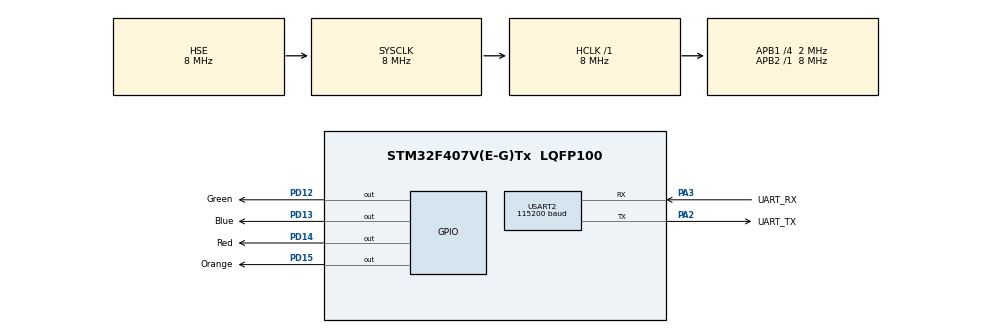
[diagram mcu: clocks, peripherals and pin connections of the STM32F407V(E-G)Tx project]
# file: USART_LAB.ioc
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Dma.Request0=USART2_RX
Dma.Request1=USART2_TX
Dma.USART2_RX.0.Direction=DMA_PERIPH_TO_MEMORY
Dma.USART2_RX.0.FIFOMode=DMA_FIFOMODE_DISABLE
Dma.USART2_RX.0.Instance=DMA1_Stream5
Dma.USART2_RX.0.MemDataAlignment=DMA_MDATAALIGN_BYTE
Dma.USART2_RX.0.MemInc=DMA_MINC_ENABLE
Dma.USART2_RX.0.Mode=DMA_NORMAL
Dma.USART2_RX.0.PeriphDataAlignment=DMA_PDATAALIGN_BYTE
Dma.USART2_RX.0.PeriphInc=DMA_PINC_DISABLE
Dma.USART2_RX.0.Priority=DMA_PRIORITY_LOW
Dma.USART2_TX.1.Direction=DMA_MEMORY_TO_PERIPH
Dma.USART2_TX.1.FIFOMode=DMA_FIFOMODE_DISABLE
Dma.USART2_TX.1.Instance=DMA1_Stream6
Dma.USART2_TX.1.MemDataAlignment=DMA_MDATAALIGN_BYTE
Dma.USART2_TX.1.MemInc=DMA_MINC_ENABLE
Dma.USART2_TX.1.Mode=DMA_NORMAL
Dma.USART2_TX.1.PeriphDataAlignment=DMA_PDATAALIGN_BYTE
Dma.USART2_TX.1.PeriphInc=DMA_PINC_DISABLE
Dma.USART2_TX.1.Priority=DMA_PRIORITY_LOW
Mcu.Family=STM32F4
Mcu.Name=STM32F407V(E-G)Tx
Mcu.Package=LQFP100
NVIC.DMA1_Stream5_IRQn=true\:0\:0\:false\:false\:true\:false\:true\:true
NVIC.DMA1_Stream6_IRQn=true\:0\:0\:false\:false\:true\:false\:true\:true
NVIC.PriorityGroup=NVIC_PRIORITYGROUP_4
NVIC.USART2_IRQn=true\:0\:0\:true\:false\:true\:true\:true\:true
PA2.GPIO_Label=UART_TX
PA2.GPIO_PuPd=GPIO_PULLUP
PA2.Mode=Asynchronous
PA2.Signal=USART2_TX
PA3.GPIO_Label=UART_RX
PA3.GPIO_PuPd=GPIO_NOPULL
PA3.Mode=Asynchronous
PA3.Signal=USART2_RX
PD12.GPIO_Label=Green
PD12.GPIO_PuPd=GPIO_PULLUP
PD12.Signal=GPIO_Output
PD13.GPIO_Label=Blue
PD13.PinState=GPIO_PIN_SET
PD13.Signal=GPIO_Output
PD14.GPIO_Label=Red
PD14.Signal=GPIO_Output
PD15.GPIO_Label=Orange
PD15.PinState=GPIO_PIN_SET
PD15.Signal=GPIO_Output
PH0-OSC_IN.Mode=HSE-External-Oscillator
PH0-OSC_IN.Signal=RCC_OSC_IN
PH1-OSC_OUT.Mode=HSE-External-Oscillator
PH1-OSC_OUT.Signal=RCC_OSC_OUT
ProjectManager.HeapSize=0x200
ProjectManager.StackSize=0x400
ProjectManager.TargetToolchain=STM32CubeIDE
RCC.48MHZClocksFreq_Value=24000000
RCC.AHBFreq_Value=8000000
RCC.APB1CLKDivider=RCC_HCLK_DIV4
RCC.APB1Freq_Value=2000000
RCC.APB1TimFreq_Value=4000000
RCC.APB2Freq_Value=8000000
RCC.APB2TimFreq_Value=8000000
RCC.CortexFreq_Value=8000000
RCC.HCLKFreq_Value=8000000
RCC.HSE_VALUE=8000000
RCC.HSI_VALUE=16000000
RCC.LSE_VALUE=32768
RCC.PLLSourceVirtual=RCC_PLLSOURCE_HSE
RCC.SYSCLKFreq_VALUE=8000000
RCC.SYSCLKSource=RCC_SYSCLKSOURCE_HSE
RCC.VCOOutputFreq_Value=96000000
USART2.BaudRate=115200
USART2.VirtualMode=VM_ASYNC
board=custom

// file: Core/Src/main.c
/* USER CODE BEGIN Header */
/**
  ******************************************************************************
  * @file           : main.c
  * @brief          : Main program body
  ******************************************************************************
  * @attention
  *
  * Copyright (c) 2024 STMicroelectronics.
  * All rights reserved.
  *
  * This software is licensed under terms that can be found in the LICENSE file
  * in the root directory of this software component.
  * If no LICENSE file comes with this software, it is provided AS-IS.
  *
  ******************************************************************************
  */
/* USER CODE END Header */
#include "main.h"
#include "dma.h"
#include "usart.h"
#include "gpio.h"

/* USER CODE BEGIN PD */
//#define TX
#define RX
/* USER CODE END PD */

void SystemClock_Config(void);

/* USER CODE BEGIN 0 */
#ifdef TX
void HAL_UART_TxCpltCallback(UART_HandleTypeDef *huart)
{
	HAL_GPIO_WritePin(GPIOD,GPIO_PIN_12,GPIO_PIN_SET) ;
}
#endif
#ifdef RX
void HAL_UART_RxCpltCallback(UART_HandleTypeDef *huart)
{
	HAL_GPIO_WritePin(GPIOD,GPIO_PIN_12,GPIO_PIN_SET) ;
}
#endif
/* USER CODE END 0 */

int main(void)
{

  /* USER CODE BEGIN 1 */
	uint8_t tx_data[]={'c','s','f','l','a','b'};
	uint8_t rx_data[6];

  /* USER CODE END 1 */

  /* MCU Configuration--------------------------------------------------------*/

  /* Reset of all peripherals, Initializes the Flash interface and the Systick. */
  HAL_Init();

  /* Configure the system clock */
  SystemClock_Config();

  /* Initialize all configured peripherals */
  MX_GPIO_Init();
  MX_DMA_Init();
  MX_USART2_UART_Init();
  /* USER CODE BEGIN 2 */
#ifdef TX
  if (HAL_UART_Transmit_DMA(&huart2, tx_data,sizeof(tx_data))!=HAL_OK)
  {
	  Error_Handler();
  }
#endif
#ifdef RX
  if (HAL_UART_Receive_DMA(&huart2,rx_data,sizeof(rx_data))!=HAL_OK)
  {
	  Error_Handler();
  }
#endif
  /* USER CODE END 2 */

  /* Infinite loop */
  /* USER CODE BEGIN WHILE */
  while (1)
  {
	  HAL_GPIO_TogglePin(GPIOD,GPIO_PIN_13) ;
	  HAL_GPIO_TogglePin(GPIOD,GPIO_PIN_15) ;
	  HAL_Delay(1000) ;
    /* USER CODE END WHILE */

  }
}

void SystemClock_Config(void)
{
  RCC_OscInitTypeDef RCC_OscInitStruct = {0};
  RCC_ClkInitTypeDef RCC_ClkInitStruct = {0};

  /** Configure the main internal regulator output voltage
  */
  __HAL_RCC_PWR_CLK_ENABLE();
  __HAL_PWR_VOLTAGESCALING_CONFIG(PWR_REGULATOR_VOLTAGE_SCALE1);

  /** Initializes the RCC Oscillators according to the specified parameters
  * in the RCC_OscInitTypeDef structure.
  */
  RCC_OscInitStruct.OscillatorType = RCC_OSCILLATORTYPE_HSE;
  RCC_OscInitStruct.HSEState = RCC_HSE_ON;
  RCC_OscInitStruct.PLL.PLLState = RCC_PLL_NONE;
  if (HAL_RCC_OscConfig(&RCC_OscInitStruct) != HAL_OK)
  {
    Error_Handler();
  }

  /** Initializes the CPU, AHB and APB buses clocks
  */
  RCC_ClkInitStruct.ClockType = RCC_CLOCKTYPE_HCLK|RCC_CLOCKTYPE_SYSCLK
                              |RCC_CLOCKTYPE_PCLK1|RCC_CLOCKTYPE_PCLK2;
  RCC_ClkInitStruct.SYSCLKSource = RCC_SYSCLKSOURCE_HSE;
  RCC_ClkInitStruct.AHBCLKDivider = RCC_SYSCLK_DIV1;
  RCC_ClkInitStruct.APB1CLKDivider = RCC_HCLK_DIV4;
  RCC_ClkInitStruct.APB2CLKDivider = RCC_HCLK_DIV1;

  if (HAL_RCC_ClockConfig(&RCC_ClkInitStruct, FLASH_LATENCY_0) != HAL_OK)
  {
    Error_Handler();
  }
}

void Error_Handler(void)
{
  /* USER CODE BEGIN Error_Handler_Debug */
  /* User can add his own implementation to report the HAL error return state */
  __disable_irq();
  while (1)
  {
	  HAL_GPIO_WritePin(GPIOD,GPIO_PIN_14,GPIO_PIN_SET) ;
  }
  /* USER CODE END Error_Handler_Debug */
}
